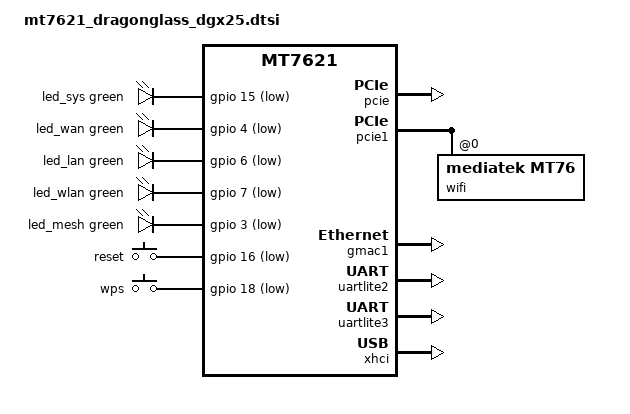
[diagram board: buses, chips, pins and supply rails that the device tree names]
// SPDX-License-Identifier: GPL-2.0-or-later OR MIT

/*
 * Dragonglass DGX25 - common Device Tree Include
 *
 * Shared between NOR (mt7621_dragonglass_dgx25.dts)
 * and NAND (mt7621_dragonglass_dgx25-nand.dts) variants.
 */

#include "mt7621.dtsi"
#include <dt-bindings/gpio/gpio.h>
#include <dt-bindings/input/input.h>
#include <dt-bindings/leds/common.h>

/ {
	aliases {
		led-boot = &led_sys;
		led-failsafe = &led_sys;
		led-running = &led_sys;
		led-upgrade = &led_sys;
		label-mac-device = &gmac0;
	};

	chosen {
		bootargs = "console=ttyS0,115200";
	};

	leds {
		compatible = "gpio-leds";

		led_sys: led-0 {
			color = <LED_COLOR_ID_GREEN>;
			function = LED_FUNCTION_STATUS;
			gpios = <&gpio 15 GPIO_ACTIVE_LOW>;
		};

		led_wan: led-1 {
			color = <LED_COLOR_ID_GREEN>;
			function = LED_FUNCTION_WAN;
			gpios = <&gpio 4 GPIO_ACTIVE_LOW>;
		};

		led_lan: led-2 {
			color = <LED_COLOR_ID_GREEN>;
			function = LED_FUNCTION_LAN;
			gpios = <&gpio 6 GPIO_ACTIVE_LOW>;
		};

		led_wlan: led-3 {
			color = <LED_COLOR_ID_GREEN>;
			function = LED_FUNCTION_WLAN;
			gpios = <&gpio 7 GPIO_ACTIVE_LOW>;
		};

		led_mesh: led-4 {
			color = <LED_COLOR_ID_GREEN>;
			function = LED_FUNCTION_INDICATOR;
			function-enumerator = <1>;
			gpios = <&gpio 3 GPIO_ACTIVE_LOW>;
		};
	};

	keys {
		compatible = "gpio-keys";

		reset {
			label = "reset";
			gpios = <&gpio 16 GPIO_ACTIVE_LOW>;
			linux,code = <KEY_RESTART>;
		};

		wps {
			label = "wps";
			gpios = <&gpio 18 GPIO_ACTIVE_LOW>;
			linux,code = <KEY_WPS_BUTTON>;
		};
	};
};

/* Flash node defined per-variant (NOR or NAND) — DO NOT add here */

&pcie {
	status = "okay";
};

/*
 * MT7915D DBDC WiFi 6 (AX1800): single PCIe endpoint on pcie1
 * providing both 2.4 GHz and 5 GHz radios.
 */
&pcie1 {
	wifi@0,0 {
		compatible = "mediatek,mt76";
		reg = <0x0000 0 0 0 0>;
		nvmem-cells = <&eeprom_factory_10000>;
		nvmem-cell-names = "eeprom";
	};
};

&gmac0 {
	nvmem-cells = <&macaddr_factory_1002a>;
	nvmem-cell-names = "mac-address";
};

&gmac1 {
	status = "okay";

	nvmem-cells = <&macaddr_factory_10024>;
	nvmem-cell-names = "mac-address";
};

&switch0 {
	ports {
		port@0 {
			status = "okay";
			label = "lan1";
		};
		port@1 {
			status = "okay";
			label = "lan2";
		};
		port@2 {
			status = "okay";
			label = "lan3";
		};
		port@3 {
			status = "okay";
			label = "lan4";
		};
		port@4 {
			status = "okay";
			label = "wan";
			nvmem-cells = <&macaddr_factory_10024>;
			nvmem-cell-names = "mac-address";
		};
	};
};

&state_default {
	gpio {
		groups = "i2c", "uart2", "uart3";
		function = "gpio";
	};
};

&uartlite2 {
	status = "okay";
};

&uartlite3 {
	status = "okay";
};

&xhci {
	status = "okay";
};
